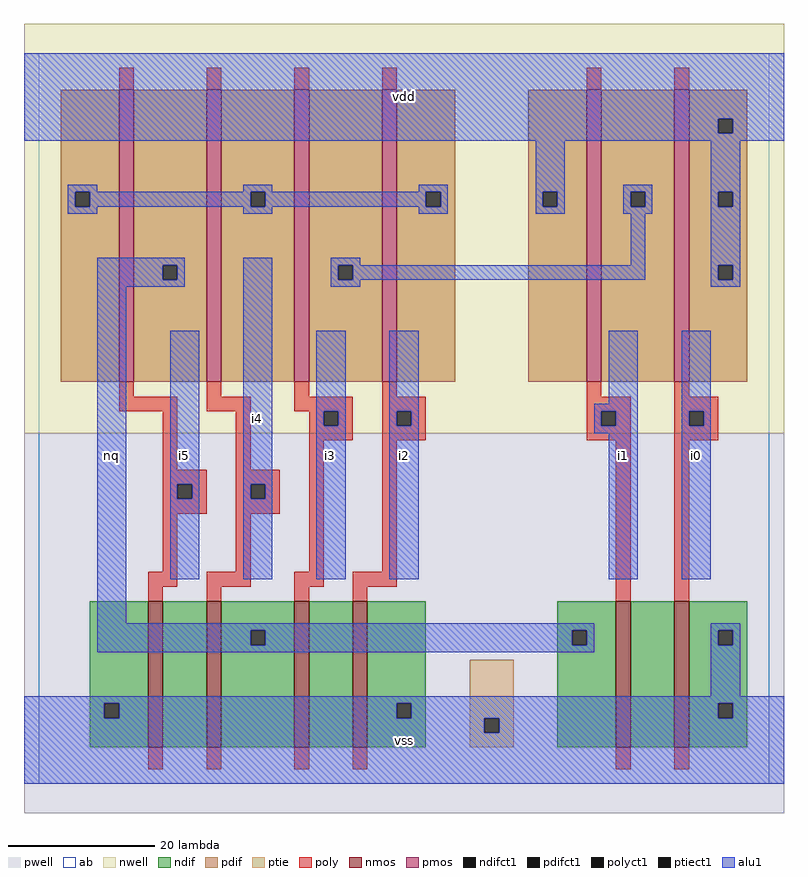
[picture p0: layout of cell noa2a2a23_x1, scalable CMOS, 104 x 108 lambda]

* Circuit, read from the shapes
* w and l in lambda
.subckt noa2a2a23_x1 i0 i1 i2 i3 i4 i5 nq vdd vss
M1 n1 i5 vss vss nfet w=20 l=2
M2 nq i4 n1 vss nfet w=20 l=2
M3 n2 i3 nq vss nfet w=20 l=2
M4 vss i2 n2 vss nfet w=20 l=2
M5 n3 i1 nq vss nfet w=20 l=2
M6 vss i0 n3 vss nfet w=20 l=2
M7 nq i5 n4 n5 pfet w=40 l=2
M8 n4 i4 nq n5 pfet w=40 l=2
M9 n6 i3 n4 n5 pfet w=40 l=2
M10 n4 i2 n6 n5 pfet w=40 l=2
M11 n6 i1 vdd n5 pfet w=40 l=2
M12 vdd i0 n6 n5 pfet w=40 l=2
.ends

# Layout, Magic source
magic
tech scmos
<< ab >>
rect 0 0 100 100
<< nwell >>
rect -2 48 102 104
<< pwell >>
rect -2 -4 102 48
<< poly >>
rect 11 95 13 98
rect 23 95 25 98
rect 35 95 37 98
rect 47 95 49 98
rect 75 95 77 98
rect 87 95 89 98
rect 11 53 13 55
rect 23 53 25 55
rect 35 53 37 55
rect 47 53 49 55
rect 75 53 77 55
rect 87 53 89 55
rect 11 51 19 53
rect 23 51 29 53
rect 35 51 43 53
rect 17 43 19 51
rect 27 43 29 51
rect 37 49 39 51
rect 41 49 43 51
rect 37 47 43 49
rect 47 51 53 53
rect 47 49 49 51
rect 51 49 53 51
rect 47 47 53 49
rect 75 51 81 53
rect 75 49 77 51
rect 79 49 81 51
rect 75 47 81 49
rect 17 41 23 43
rect 17 39 19 41
rect 21 39 23 41
rect 17 37 23 39
rect 27 41 33 43
rect 27 39 29 41
rect 31 39 33 41
rect 27 37 33 39
rect 17 29 19 37
rect 27 29 29 37
rect 37 29 39 47
rect 47 29 49 47
rect 15 27 19 29
rect 23 27 29 29
rect 35 27 39 29
rect 43 27 49 29
rect 15 25 17 27
rect 23 25 25 27
rect 35 25 37 27
rect 43 25 45 27
rect 79 25 81 47
rect 87 51 93 53
rect 87 49 89 51
rect 91 49 93 51
rect 87 47 93 49
rect 87 25 89 47
rect 15 2 17 5
rect 23 2 25 5
rect 35 2 37 5
rect 43 2 45 5
rect 79 2 81 5
rect 87 2 89 5
<< ndif >>
rect 7 11 15 25
rect 7 9 9 11
rect 11 9 15 11
rect 7 5 15 9
rect 17 5 23 25
rect 25 21 35 25
rect 25 19 29 21
rect 31 19 35 21
rect 25 5 35 19
rect 37 5 43 25
rect 45 11 53 25
rect 71 21 79 25
rect 71 19 73 21
rect 75 19 79 21
rect 45 9 49 11
rect 51 9 53 11
rect 45 5 53 9
rect 71 5 79 19
rect 81 5 87 25
rect 89 21 97 25
rect 89 19 93 21
rect 95 19 97 21
rect 89 11 97 19
rect 89 9 93 11
rect 95 9 97 11
rect 89 5 97 9
<< pdif >>
rect 3 81 11 95
rect 3 79 5 81
rect 7 79 11 81
rect 3 55 11 79
rect 13 71 23 95
rect 13 69 17 71
rect 19 69 23 71
rect 13 55 23 69
rect 25 81 35 95
rect 25 79 29 81
rect 31 79 35 81
rect 25 55 35 79
rect 37 71 47 95
rect 37 69 41 71
rect 43 69 47 71
rect 37 55 47 69
rect 49 81 57 95
rect 49 79 53 81
rect 55 79 57 81
rect 49 55 57 79
rect 67 81 75 95
rect 67 79 69 81
rect 71 79 75 81
rect 67 55 75 79
rect 77 81 87 95
rect 77 79 81 81
rect 83 79 87 81
rect 77 55 87 79
rect 89 91 97 95
rect 89 89 93 91
rect 95 89 97 91
rect 89 81 97 89
rect 89 79 93 81
rect 95 79 97 81
rect 89 71 97 79
rect 89 69 93 71
rect 95 69 97 71
rect 89 55 97 69
<< alu1 >>
rect -2 91 102 100
rect -2 89 93 91
rect 95 89 102 91
rect -2 88 102 89
rect 4 81 8 82
rect 28 81 32 82
rect 52 81 56 82
rect 4 79 5 81
rect 7 79 29 81
rect 31 79 53 81
rect 55 79 56 81
rect 4 78 8 79
rect 28 78 32 79
rect 52 78 56 79
rect 68 81 72 88
rect 68 79 69 81
rect 71 79 72 81
rect 68 78 72 79
rect 80 81 84 82
rect 80 79 81 81
rect 83 79 84 81
rect 80 78 84 79
rect 92 81 96 88
rect 92 79 93 81
rect 95 79 96 81
rect 8 71 20 72
rect 8 69 17 71
rect 19 69 20 71
rect 8 68 20 69
rect 8 22 12 68
rect 18 41 22 62
rect 18 39 19 41
rect 21 39 22 41
rect 18 28 22 39
rect 28 41 32 72
rect 40 71 44 72
rect 81 71 83 78
rect 40 69 41 71
rect 43 69 83 71
rect 92 71 96 79
rect 92 69 93 71
rect 95 69 96 71
rect 40 68 44 69
rect 92 68 96 69
rect 28 39 29 41
rect 31 39 32 41
rect 28 28 32 39
rect 38 51 42 62
rect 38 49 39 51
rect 41 49 42 51
rect 38 28 42 49
rect 48 51 52 62
rect 78 52 82 62
rect 48 49 49 51
rect 51 49 52 51
rect 48 28 52 49
rect 76 51 82 52
rect 76 49 77 51
rect 79 49 82 51
rect 76 48 82 49
rect 78 28 82 48
rect 88 51 92 62
rect 88 49 89 51
rect 91 49 92 51
rect 88 28 92 49
rect 8 21 76 22
rect 8 19 29 21
rect 31 19 73 21
rect 75 19 76 21
rect 8 18 76 19
rect 92 21 96 22
rect 92 19 93 21
rect 95 19 96 21
rect 92 12 96 19
rect -2 11 102 12
rect -2 9 9 11
rect 11 9 49 11
rect 51 9 93 11
rect 95 9 102 11
rect -2 7 61 9
rect 63 7 102 9
rect -2 0 102 7
<< ptie >>
rect 59 9 65 17
rect 59 7 61 9
rect 63 7 65 9
rect 59 5 65 7
<< nmos >>
rect 15 5 17 25
rect 23 5 25 25
rect 35 5 37 25
rect 43 5 45 25
rect 79 5 81 25
rect 87 5 89 25
<< pmos >>
rect 11 55 13 95
rect 23 55 25 95
rect 35 55 37 95
rect 47 55 49 95
rect 75 55 77 95
rect 87 55 89 95
<< polyct1 >>
rect 39 49 41 51
rect 49 49 51 51
rect 77 49 79 51
rect 19 39 21 41
rect 29 39 31 41
rect 89 49 91 51
<< ndifct1 >>
rect 9 9 11 11
rect 29 19 31 21
rect 73 19 75 21
rect 49 9 51 11
rect 93 19 95 21
rect 93 9 95 11
<< ptiect1 >>
rect 61 7 63 9
<< pdifct1 >>
rect 5 79 7 81
rect 17 69 19 71
rect 29 79 31 81
rect 41 69 43 71
rect 53 79 55 81
rect 69 79 71 81
rect 81 79 83 81
rect 93 89 95 91
rect 93 79 95 81
rect 93 69 95 71
<< labels >>
rlabel alu1 10 45 10 45 6 nq
rlabel alu1 20 45 20 45 6 i5
rlabel alu1 40 45 40 45 6 i3
rlabel alu1 30 50 30 50 6 i4
rlabel alu1 50 6 50 6 6 vss
rlabel alu1 50 45 50 45 6 i2
rlabel alu1 50 94 50 94 6 vdd
rlabel alu1 80 45 80 45 6 i1
rlabel alu1 90 45 90 45 6 i0
<< end >>
